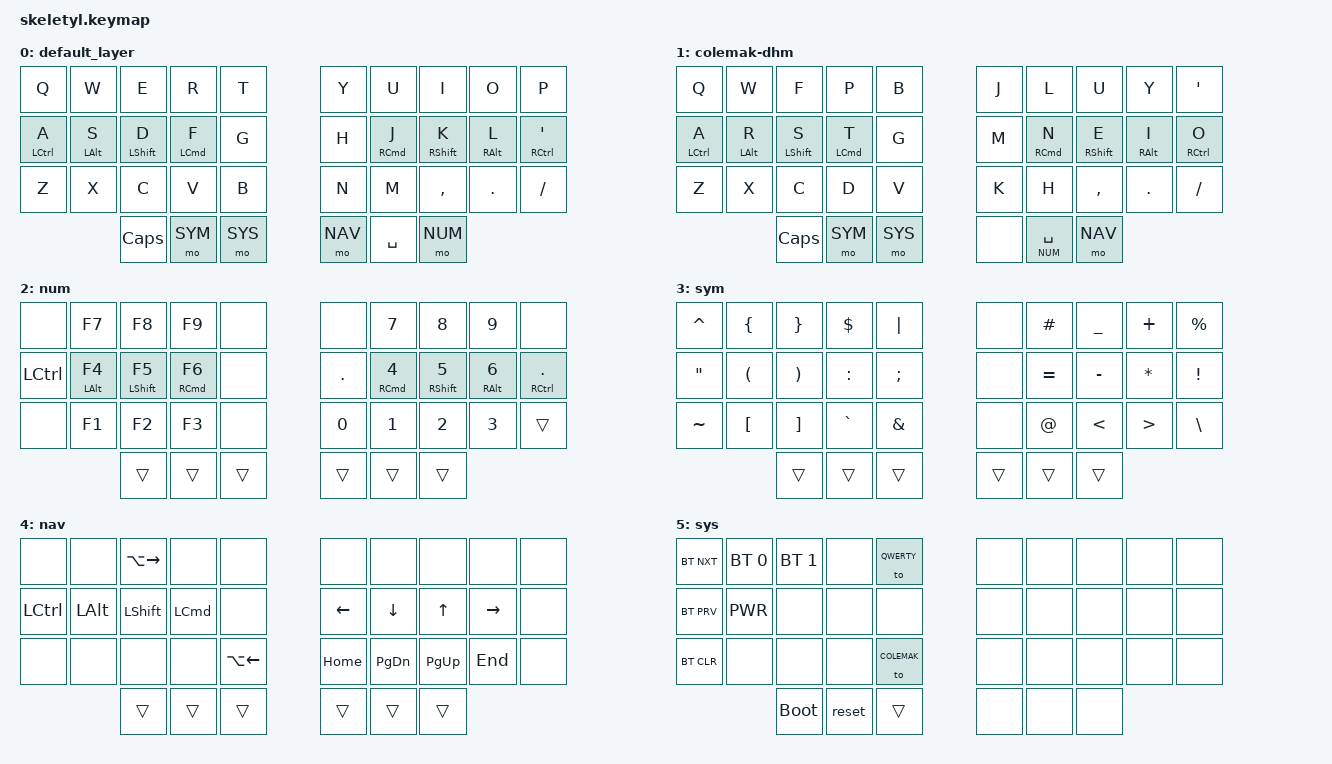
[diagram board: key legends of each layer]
#include "behaviors.dtsi"
#include "dt-bindings/zmk/keys.h"
#include "dt-bindings/zmk/bt.h"

#define QWERTY 0
#define COLEMAK 1
#define NUM 2
#define SYM 3
#define NAV 4
#define SYS 5

/ {	
	combos {
		compatible = "zmk,combos";
		combo_esc {
			timeout-ms = <20>;
			key-positions = <11 12>;
			bindings = <&kp ESC>;
		};
		combo_tab {
			timeout-ms = <20>;
			key-positions = <12 13>;
			bindings = <&kp TAB>;
		};
		combo_enter {
			timeout-ms = <20>;
			key-positions = <16 17>;
			bindings = <&kp ENTER>;
		};
		combo_backspace {
			timeout-ms = <20>;
			key-positions = <17 18>;
			bindings = <&kp BSPC>;
		};
		combo_del {
			timeout-ms = <20>;
			key-positions = <18 19>;
			bindings = <&kp DEL>;
		};
	};

	behaviors {
		hm: homerow_mods {
			compatible = "zmk,behavior-hold-tap";
			label = "HOMEROW_MODS";
			#binding-cells = <2>;
			tapping_term_ms = <150>;
			flavor = "balanced";
			bindings = <&kp>, <&kp>;
		};

		mlt: layer_tap {
			compatible = "zmk,behavior-hold-tap";
			label = "LAYER_TAP";
			#binding-cells = <2>;
			tapping_term_ms = <150>;
			flavor = "balanced";
			bindings = <&mo>, <&kp>;
		};
	};
	
	keymap {
		compatible = "zmk,keymap";

		default_layer {
			bindings = <
&kp Q       &kp W      &kp E       &kp R      &kp T            &kp Y          &kp U      &kp I       &kp O      &kp P
&hm LCTRL A &hm LALT S &hm LSHFT D &hm LCMD F &kp G            &kp H          &hm RCMD J &hm RSHFT K &hm RALT L &hm RCTRL SQT
&kp Z       &kp X      &kp C       &kp V      &kp B            &kp N          &kp M      &kp COMMA   &kp DOT    &kp FSLH
                       &kp CAPS    &mo SYM    &mo SYS          &mo NAV        &kp SPACE  &mo NUM
			>;
		};

		colemak-dhm {
			bindings = <
&kp Q       &kp W      &kp F       &kp P      &kp B       &kp J &kp L            &kp U       &kp Y      &kp SQT
&hm LCTRL A &hm LALT R &hm LSHFT S &hm LCMD T &kp G       &kp M &hm RCMD N       &hm RSHFT E &hm RALT I &hm RCTRL O
&kp Z       &kp X      &kp C       &kp D      &kp V       &kp K &kp H            &kp COMMA   &kp DOT    &kp FSLH
                       &kp CAPS    &mo SYM    &mo SYS     &none &mlt NUM SPACE   &mo NAV
			>;
		};

		num {
			bindings = <
&none     &kp F7      &kp F8       &kp F9      &none       &none   &kp N7      &kp N8       &kp N9      &none
&kp LCTRL &hm LALT F4 &hm LSHFT F5 &hm RCMD F6 &none       &kp DOT   &hm RCMD N4 &hm RSHFT N5 &hm RALT N6 &hm RCTRL DOT
&none     &kp F1      &kp F2       &kp F3      &none       &kp N0  &kp N1      &kp N2       &kp N3      &trans 
                      &trans       &trans      &trans      &trans  &trans      &trans
			>;
		};

		sym {
			bindings = <
&kp CARET &kp LBRC &kp RBRC &kp DLLR  &kp PIPE       &none    &kp HASH  &kp UNDER &kp PLUS &kp PRCNT
&kp DQT   &kp LPAR &kp RPAR &kp COLON &kp SEMI       &none    &kp EQUAL &kp MINUS &kp STAR &kp EXCL
&kp TILDE &kp LBKT &kp RBKT &kp GRAVE &kp AMPS       &none    &kp AT    &kp LT    &kp GT   &kp BSLH
                   &trans   &trans    &trans         &trans   &trans    &trans
			>;
		};

		nav {
			bindings = <
&none     &none    &kp LA(RIGHT) &none    &none            &none    &none     &none     &none     &none
&kp LCTRL &kp LALT &kp LSHFT     &kp LCMD &none            &kp LEFT &kp DOWN  &kp UP    &kp RIGHT &none
&none     &none    &none         &none    &kp LA(LEFT)     &kp HOME &kp PG_DN &kp PG_UP &kp END &none
                   &trans        &trans   &trans           &trans   &trans    &trans
			>;
		};

		sys {
			bindings = <
&bt BT_NXT &bt BT_SEL 0 &bt BT_SEL 1 &none  &to QWERTY     &none &none &none &none &none
&bt BT_PRV &kp K_PWR    &none        &none  &none          &none &none &none &none &none
&bt BT_CLR &none        &none        &none  &to COLEMAK    &none &none &none &none &none
                        &bootloader  &reset &trans         &none &none &none
			>;
		};
	};
};
